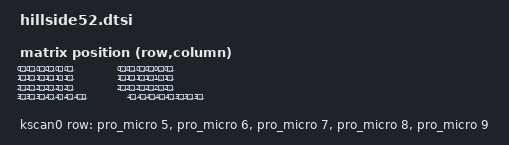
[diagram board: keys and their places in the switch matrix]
/*
 * Copyright (c) 2021-2022 The ZMK Contributors
 *
 * SPDX-License-Identifier: MIT
 */

#include <dt-bindings/zmk/matrix_transform.h>
#include <physical_layouts.dtsi>

/ {
    chosen {
        zmk,kscan = &kscan0;
        zmk,physical-layout = &hillside52_physical_layout;
    };

    default_transform: keymap_transform_0 {
        compatible = "zmk,matrix-transform";
        columns = <12>;
        rows = <5>;
// | SW1  | SW2  | SW3  | SW4  | SW5  | SW6  |                                   | SW6  | SW5  | SW4  | SW3  | SW2  | SW1  |
// | SW7  | SW8  | SW9  | SW10 | SW11 | SW12 |                                   | SW12 | SW11 | SW10 | SW9  | SW8  | SW7  |
// | SW13 | SW14 | SW15 | SW16 | SW17 | SW18 / SW19 /                     \ SW19 \ SW18 | SW17 | SW16 | SW15 | SW14 | SW13 |
// | SW20 | SW21 | SW22    | SW23 / SW24 / SW25 / SW26 /               \ SW26 \ SW25 \ SW24 \ SW23 |    SW22 | SW21 | SW20 |
        map = <
RC(0,0) RC(0,1) RC(0,2) RC(0,3) RC(0,4) RC(0,5)                                   RC(0,6) RC(0,7) RC(0,8) RC(0,9) RC(0,10) RC(0,11)
RC(1,0) RC(1,1) RC(1,2) RC(1,3) RC(1,4) RC(1,5)                                   RC(1,6) RC(1,7) RC(1,8) RC(1,9) RC(1,10) RC(1,11)
RC(2,0) RC(2,1) RC(2,2) RC(2,3) RC(2,4) RC(2,5) RC(4,5)                   RC(4,6) RC(2,6) RC(2,7) RC(2,8) RC(2,9) RC(2,10) RC(2,11)
RC(3,0) RC(3,1) RC(3,2)         RC(4,1) RC(4,2) RC(4,3) RC(4,4)   RC(4,7) RC(4,8) RC(4,9) RC(4,10)        RC(3,9) RC(3,10) RC(3,11)
        >;
    };

    hillside52_physical_layout: hillside52_physical_layout {
        compatible = "zmk,physical-layout";
        display-name = "Hillside 52";
        transform = <&default_transform>;
        kscan = <&kscan0>;
        keys = <
            &key_physical_attrs 18 18  0   0  0 0 0
            , <&key_physical_attrs 18 18 19   0  0 0 0>
            , <&key_physical_attrs 18 18 38   0  0 0 0>
            , <&key_physical_attrs 18 18 57   0  0 0 0>
            , <&key_physical_attrs 18 18 76   0  0 0 0>
            , <&key_physical_attrs 18 18 95   0  0 0 0>
            , <&key_physical_attrs 18 18 200  0  0 0 0>
            , <&key_physical_attrs 18 18 219  0  0 0 0>
            , <&key_physical_attrs 18 18 238  0  0 0 0>
            , <&key_physical_attrs 18 18 257  0  0 0 0>
            , <&key_physical_attrs 18 18 276  0  0 0 0>
            , <&key_physical_attrs 18 18 295  0  0 0 0>
            , <&key_physical_attrs 18 18  0  19  0 0 0>
            , <&key_physical_attrs 18 18 19  19  0 0 0>
            , <&key_physical_attrs 18 18 38  19  0 0 0>
            , <&key_physical_attrs 18 18 57  19  0 0 0>
            , <&key_physical_attrs 18 18 76  19  0 0 0>
            , <&key_physical_attrs 18 18 95  19  0 0 0>
            , <&key_physical_attrs 18 18 200 19  0 0 0>
            , <&key_physical_attrs 18 18 219 19  0 0 0>
            , <&key_physical_attrs 18 18 238 19  0 0 0>
            , <&key_physical_attrs 18 18 257 19  0 0 0>
            , <&key_physical_attrs 18 18 276 19  0 0 0>
            , <&key_physical_attrs 18 18 295 19  0 0 0>
            , <&key_physical_attrs 18 18  0  38  0 0 0>
            , <&key_physical_attrs 18 18 19  38  0 0 0>
            , <&key_physical_attrs 18 18 38  38  0 0 0>
            , <&key_physical_attrs 18 18 57  38  0 0 0>
            , <&key_physical_attrs 18 18 76  38  0 0 0>
            , <&key_physical_attrs 18 18 95  38  0 0 0>
            , <&key_physical_attrs 18 18 120 57  0 0 0>
            , <&key_physical_attrs 18 18 220 57  0 0 0>
            , <&key_physical_attrs 18 18 200 38  0 0 0>
            , <&key_physical_attrs 18 18 219 38  0 0 0>
            , <&key_physical_attrs 18 18 238 38  0 0 0>
            , <&key_physical_attrs 18 18 257 38  0 0 0>
            , <&key_physical_attrs 18 18 276 38  0 0 0>
            , <&key_physical_attrs 18 18 295 38  0 0 0>
            , <&key_physical_attrs 18 18  0  57  0 0 0>
            , <&key_physical_attrs 18 18 19  57  0 0 0>
            , <&key_physical_attrs 18 18 38  57  0 0 0>
            , <&key_physical_attrs 18 18 57  57  0 0 0>
            , <&key_physical_attrs 18 18 76  57  0 0 0>
            , <&key_physical_attrs 18 18 95  57  0 0 0>
            , <&key_physical_attrs 18 18 114 57  0 0 0>
            , <&key_physical_attrs 18 18 240 57  0 0 0>
            , <&key_physical_attrs 18 18 259 57  0 0 0>
            , <&key_physical_attrs 18 18 278 57  0 0 0>
            , <&key_physical_attrs 18 18 297 57  0 0 0>
            , <&key_physical_attrs 18 18 316 57  0 0 0>
            , <&key_physical_attrs 18 18 335 57  0 0 0>
            , <&key_physical_attrs 18 18 354 57  0 0 0>
            ;
    };

    kscan0: kscan {
        compatible = "zmk,kscan-gpio-matrix";
        label = "KSCAN";

        diode-direction = "col2row";
        row-gpios
            = <&pro_micro 5 (GPIO_ACTIVE_HIGH | GPIO_PULL_DOWN)>
            , <&pro_micro 6 (GPIO_ACTIVE_HIGH | GPIO_PULL_DOWN)>
            , <&pro_micro 7 (GPIO_ACTIVE_HIGH | GPIO_PULL_DOWN)>
            , <&pro_micro 8 (GPIO_ACTIVE_HIGH | GPIO_PULL_DOWN)>
            , <&pro_micro 9 (GPIO_ACTIVE_HIGH | GPIO_PULL_DOWN)>
            ;
    };

//    left_encoder: encoder_left {
//            compatible = "alps,ec11";
//            label = "LEFT_ENCODER";
//            a-gpios = <&pro_micro 20 (GPIO_ACTIVE_HIGH | GPIO_PULL_UP)>;
//            b-gpios = <&pro_micro 21 (GPIO_ACTIVE_HIGH | GPIO_PULL_UP)>;
//            resolution = <4>;
//            status = "disabled";
//        };
//
//    right_encoder: encoder_right {
//            compatible = "alps,ec11";
//            label = "RIGHT_ENCODER";
//            a-gpios = <&pro_micro 21 (GPIO_ACTIVE_HIGH | GPIO_PULL_UP)>;
//            b-gpios = <&pro_micro 20 (GPIO_ACTIVE_HIGH | GPIO_PULL_UP)>;
//            resolution = <4>;
//            status = "disabled";
//        };
//
//    sensors {
//            compatible = "zmk,keymap-sensors";
//            sensors = <&left_encoder &right_encoder>;
//        };

};
